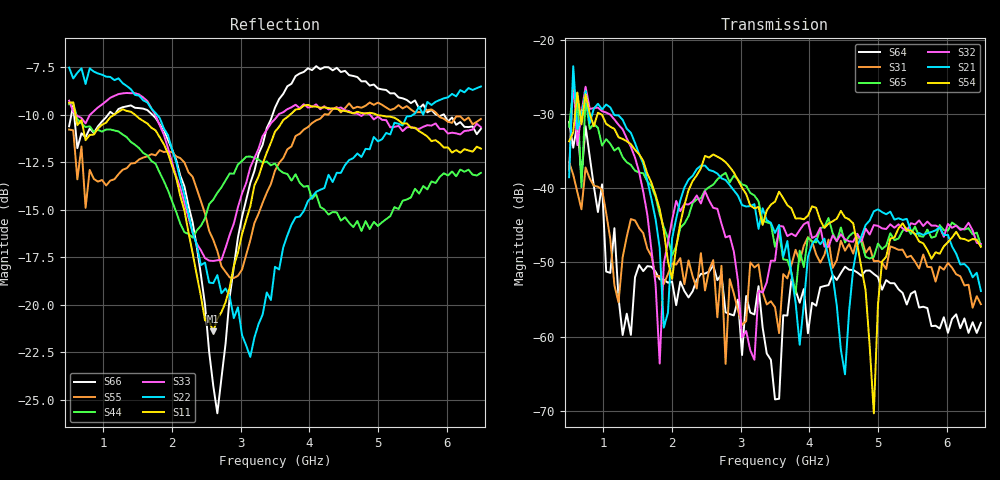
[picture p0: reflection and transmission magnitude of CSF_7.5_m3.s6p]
!Keysight Technologies,M9804A,MY58100912,A.14.10.03
!Date: Thursday, April 27, 2023 10:28:33
!Correction: S11(C  6-Port  )
!S12(C  6-Port  )
!S13(C  6-Port  )
!S14(C  6-Port  )
!S15(C  6-Port  )
!S16(C  6-Port  )
!S21(C  6-Port  )
!S22(C  6-Port  )
!S23(C  6-Port  )
!S24(C  6-Port  )
!S25(C  6-Port  )
!S26(C  6-Port  )
!S31(C  6-Port  )
!S32(C  6-Port  )
!S33(C  6-Port  )
!S34(C  6-Port  )
!S35(C  6-Port  )
!S36(C  6-Port  )
!S41(C  6-Port  )
!S42(C  6-Port  )
!S43(C  6-Port  )
!S44(C  6-Port  )
!S45(C  6-Port  )
!S46(C  6-Port  )
!S51(C  6-Port  )
!S52(C  6-Port  )
!S53(C  6-Port  )
!S54(C  6-Port  )
!S55(C  6-Port  )
!S56(C  6-Port  )
!S61(C  6-Port  )
!S62(C  6-Port  )
!S63(C  6-Port  )
!S64(C  6-Port  )
!S65(C  6-Port  )
!S66(C  6-Port  )
!S6P File: Measurement: :
# Hz S  RI  R 50
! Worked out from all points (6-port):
!   101 points, 500 MHz to 6.5 GHz, reference 50 ohm
!   strongest paths, dB at 500 MHz, 2 GHz, 3.5 GHz, 5 GHz, 6.5 GHz:
!     S54: -33.7, -52.2, -41.8, -55.7, -47.9
!     S21: -38.5, -46.8, -46.0, -42.8, -53.9
!     S32: -37.6, -44.3, -49.8, -45.1, -47.5
!     S65: -31.7, -49.1, -47.9, -47.5, -47.7
!     S31: -36.5, -50.1, -56.0, -49.8, -55.6
!     S64: -31.1, -52.6, -68.5, -52.0, -58.1
!   lowest |S11| = -21.4 dB at 2.6 GHz (marker M1), VSWR 1.19, Z = 42.5 + j2.28 ohm
!   |S11| at or under -10 dB: 593.1 MHz to 1.15 GHz (556.4 MHz wide, 63.9 % of centre); 1.464 GHz to 3.717 GHz (2.253 GHz wide, 87 % of centre); 4.988 GHz to end of sweep
